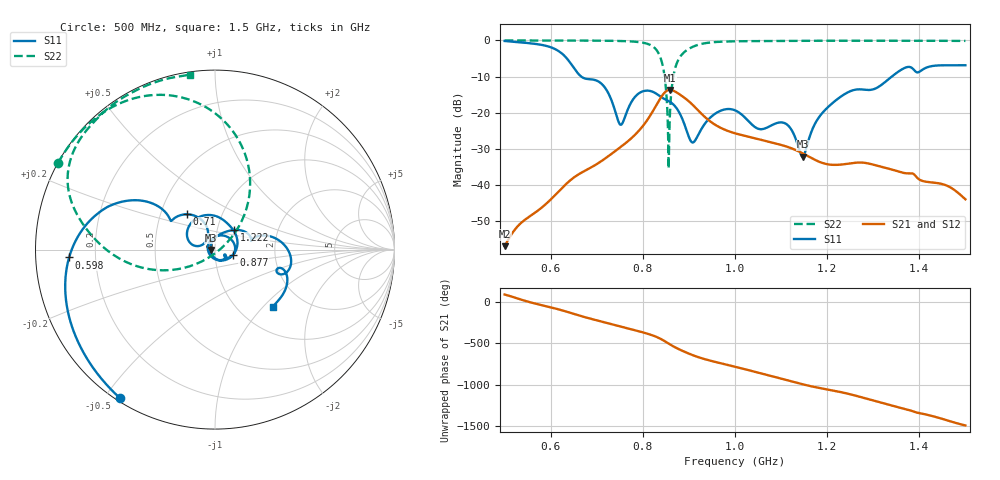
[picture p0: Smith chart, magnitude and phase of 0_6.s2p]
! TOUCHSTONE file generated by CST MICROWAVE STUDIO
! Date and time: Sat Oct 24 11:11:54 2020
! Project name: Scenario_1_Circular_Tissue_in_Line.cst
! Parameters = {L_HA=400; MT=2.54; Rad_Dielectric=30; Rad_Lower=7.3; Rad_Upper=30; a_HA=580; a_WG=246; b_HA=500; b_WG=121; c_HA=0; c_WG=187; d_feed=85; dx1=259.6; h_feed=15; h_lower=18; h_upper=40}
! Header version: 2018
! Port assignment regex: !\s*Touchstone port\s*([0-9]+)\s*=\s*(CST MWS port|CST DS port)\s*([0-9]+|Zmin|Zmax)\s*\(\"(.*)\"\)(\s*mode\s*([0-9]+))?.*
! Touchstone port assignment:
! Touchstone port 1 = CST MWS port 1 ("")
! Touchstone port 2 = CST MWS port 2 ("")
# GHz S DB R 50
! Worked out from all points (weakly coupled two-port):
!   1003 points, 500 MHz to 1.5 GHz, reference 50 ohm
!   highest |S21| = -13.68 dB at 859 MHz (marker M1); lowest = -56.9 dB at 500 MHz (marker M2)
!   lowest |S11| = -32.1 dB at 1.147 GHz (marker M3), VSWR 1.05, Z = 47.6 - j0.182 ohm
!   |S11| at or under -10 dB: 666.4 MHz to 1.34 GHz (673.8 MHz wide, 67.2 % of centre)
!   |S22| runs from -35.4 to 0.0 dB; largest |S21 - S12| = 2.2e-05
!   S11 on the Smith chart (normalised r, x): 500 MHz: 0.01, -0.55; 598 MHz: 0.10, -0.03; 710 MHz: 0.68, +0.28; 877 MHz: 1.23, -0.07; 1.222 GHz: 1.21, +0.27; 1.5 GHz: 1.41, -1.14
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0.5  -0.16 -122.7  -56.90 88.2  -56.90 88.2  -0.01 151.1
0.598  -1.79 -176.9  -44.24 -63.1  -44.24 -63.1  -0.02 144.3
0.632  -4.54 153.6  -39.89 -113.9  -39.89 -113.9  -0.03 141.5
0.667  -10.06 144.8  -36.56 -172.9  -36.56 -172.9  -0.04 138.4
0.71  -11.95 128.9  -33.38 123.3  -33.38 123.3  -0.07 133.6
0.752  -23.34 141.5  -29.45 62.3  -29.45 62.3  -0.16 127.1
0.79  -14.76 148.5  -25.17 7.4  -25.17 7.4  -0.44 116.8
0.834  -15.14 77.4  -16.88 -73.4  -16.88 -73.4  -3.53 81.4
0.846  -16.13 58.2  -14.60 -109.0  -14.60 -109.0  -8.92 57.7
0.854  -16.64 43.7  -13.81 -136.1  -13.81 -136.1  -22.33 29.9
0.859  -17.00 33.1  -13.68 -153.1  -13.68 -153.1  -19.70 -138.9
0.867  -17.81 13.6  -13.95 -178.7  -13.95 -178.7  -9.38 -160.3
0.877  -19.48 -15.1  -14.68 152.8  -14.68 152.8  -5.37 -175.0
0.908  -28.23 -160.4  -17.79 78.1  -17.79 78.1  -1.78 164.0
1  -19.33 -11.5  -25.68 -61.9  -25.68 -61.9  -0.24 140.2
1.052  -24.49 -31.2  -27.34 -135.6  -27.34 -135.6  -0.18 134.1
1.111  -23.09 -55.2  -29.31 138.7  -29.31 138.7  -0.12 128.8
1.147  -32.14 -175.6  -31.24 86.4  -31.24 86.4  -0.10 125.8
1.167  -24.87 97.0  -32.59 60.4  -32.59 60.4  -0.09 124.2
1.222  -16.25 45.3  -34.41 1.2  -34.41 1.2  -0.09 119.9
1.334  -10.65 15.5  -35.48 -160.5  -35.48 -160.5  -0.08 111.5
1.5  -6.87 -44.9  -43.94 -49.7  -43.95 -49.9  -0.13 98.0
